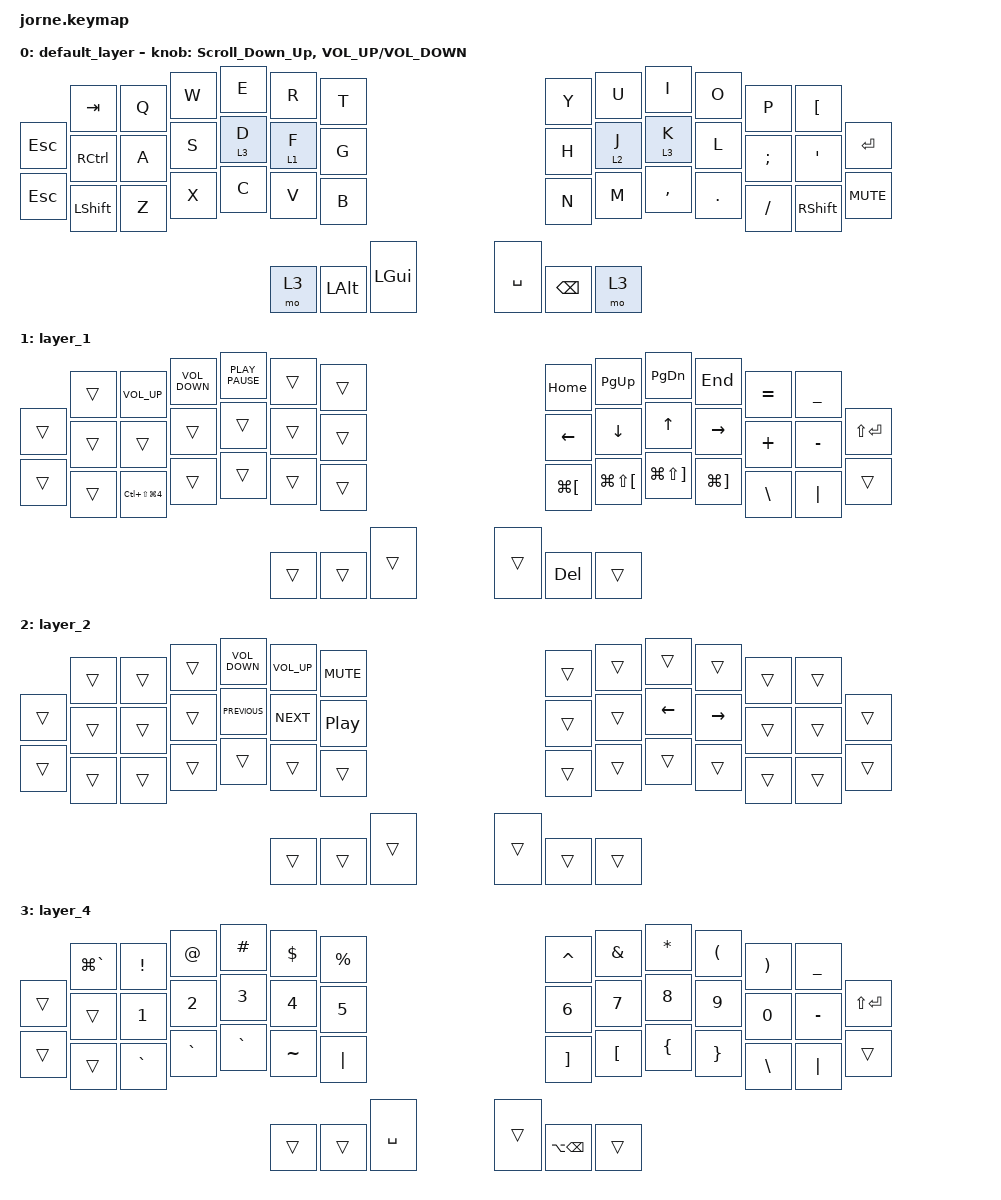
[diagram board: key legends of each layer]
/*
 * Copyright (c) 2020 The ZMK Contributors
 *
 * SPDX-License-Identifier: MIT
 */

#include <input/processors.dtsi>
#include <zephyr/dt-bindings/input/input-event-codes.h>
#include <dt-bindings/zmk/mouse.h>
#include <behaviors/mouse_keys.dtsi>
#include <behaviors.dtsi>
#include <dt-bindings/zmk/keys.h>
#include <dt-bindings/zmk/pointing.h>

#define ZMK_POINTING_DEFAULT_MOVE_VAL 1200
#define ZMK_POINTING_DEFAULT_SCRL_VAL 1000 // Higher = bigger scroll per event

&mmv_input_listener { input-processors = <&zip_xy_scaler 2 1>; };

&msc_input_listener { input-processors = <&zip_scroll_scaler 4 1>; };  // 4x multiplier
&msc {
    acceleration-exponent = <0>;      // 0 = uniform speed (constant, no acceleration)
    time-to-max-speed-ms = <0>;       // 0 = instant full speed, no ramp-up
    delay-ms = <0>;                   // no delay
};

&mmv {
    time-to-max-speed-ms = <500>;
    acceleration-exponent = <1>;
    trigger-period-ms = <16>;
};

/ {
    behaviors {
        Scroll_Down_Up: Scroll_Down_Up {
            compatible = "zmk,behavior-sensor-rotate";
            #sensor-binding-cells = <0>;
            bindings = <&msc SCRL_DOWN>, <&msc SCRL_UP>;

            tap-ms = <20>;
        };
    };

    keymap {
        compatible = "zmk,keymap";

        default_layer {
            bindings = <
         &kp TAB    &kp Q  &kp W  &kp E    &kp R         &kp T         &kp Y      &kp U          &kp I      &kp O    &kp P     &kp LBKT
&kp ESC  &kp RCTRL  &kp A  &kp S  &lt 3 D  &lt 1 F       &kp G         &kp H      &lt 2 J        &lt 3 K    &kp L    &kp SEMI  &kp SQT    &kp RETURN
&kp ESC  &kp LSHFT  &kp Z  &kp X  &kp C    &kp V         &kp B         &kp N      &kp M          &kp COMMA  &kp DOT  &kp FSLH  &kp RSHFT  &kp K_MUTE
                                  &mo 3    &kp LEFT_ALT  &kp LEFT_GUI  &kp SPACE  &kp BACKSPACE  &mo 3
            >;

            sensor-bindings =
                <&Scroll_Down_Up>,
                <&inc_dec_kp K_VOLUME_UP K_VOLUME_DOWN>;
        };

        layer_1 {
            bindings = <
        &trans  &kp C_VOLUME_UP           &kp C_VOLUME_DOWN  &kp K_PLAY_PAUSE  &trans  &trans  &kp HOME              &kp PAGE_UP               &kp PAGE_DOWN              &kp END                &kp EQUAL      &kp UNDER
&trans  &trans  &trans                    &trans             &trans            &trans  &trans  &kp LEFT              &kp DOWN                  &kp UP                     &kp RIGHT              &kp PLUS       &kp MINUS  &kp LS(ENTER)
&trans  &trans  &kp LC(LS(LG(NUMBER_4)))  &trans             &trans            &trans  &trans  &kp LG(LEFT_BRACKET)  &kp LG(LS(LEFT_BRACKET))  &kp LG(LS(RIGHT_BRACKET))  &kp LG(RIGHT_BRACKET)  &kp BACKSLASH  &kp PIPE   &trans
                                                             &trans            &trans  &trans  &trans                &kp DELETE                &trans
            >;
        };

        layer_2 {
            bindings = <
        &trans  &trans  &trans  &kp C_VOLUME_DOWN  &kp C_VOLUME_UP  &kp C_MUTE        &trans  &trans  &trans    &trans     &trans  &trans
&trans  &trans  &trans  &trans  &kp C_PREVIOUS     &kp C_NEXT       &kp C_PLAY_PAUSE  &trans  &trans  &kp LEFT  &kp RIGHT  &trans  &trans  &trans
&trans  &trans  &trans  &trans  &trans             &trans           &trans            &trans  &trans  &trans    &trans     &trans  &trans  &trans
                                &trans             &trans           &trans            &trans  &trans  &trans
            >;
        };

        layer_4 {
            bindings = <
        &kp LG(GRAVE)  &kp EXCLAMATION  &kp AT_SIGN  &kp HASH   &kp DOLLAR  &kp PERCENT  &kp CARET          &kp AMPERSAND      &kp ASTERISK    &kp LEFT_PARENTHESIS  &kp RIGHT_PARENTHESIS  &kp UNDERSCORE
&trans  &trans         &kp N1           &kp N2       &kp N3     &kp N4      &kp N5       &kp N6             &kp N7             &kp N8          &kp N9                &kp N0                 &kp MINUS       &kp LS(RETURN)
&trans  &trans         &kp GRAVE        &kp GRAVE    &kp GRAVE  &kp TILDE   &kp PIPE     &kp RIGHT_BRACKET  &kp LEFT_BRACKET   &kp LEFT_BRACE  &kp RIGHT_BRACE       &kp BACKSLASH          &kp PIPE        &trans
                                                     &trans     &trans      &kp SPACE    &trans             &kp LA(BACKSPACE)  &trans
            >;
        };
    };
};
